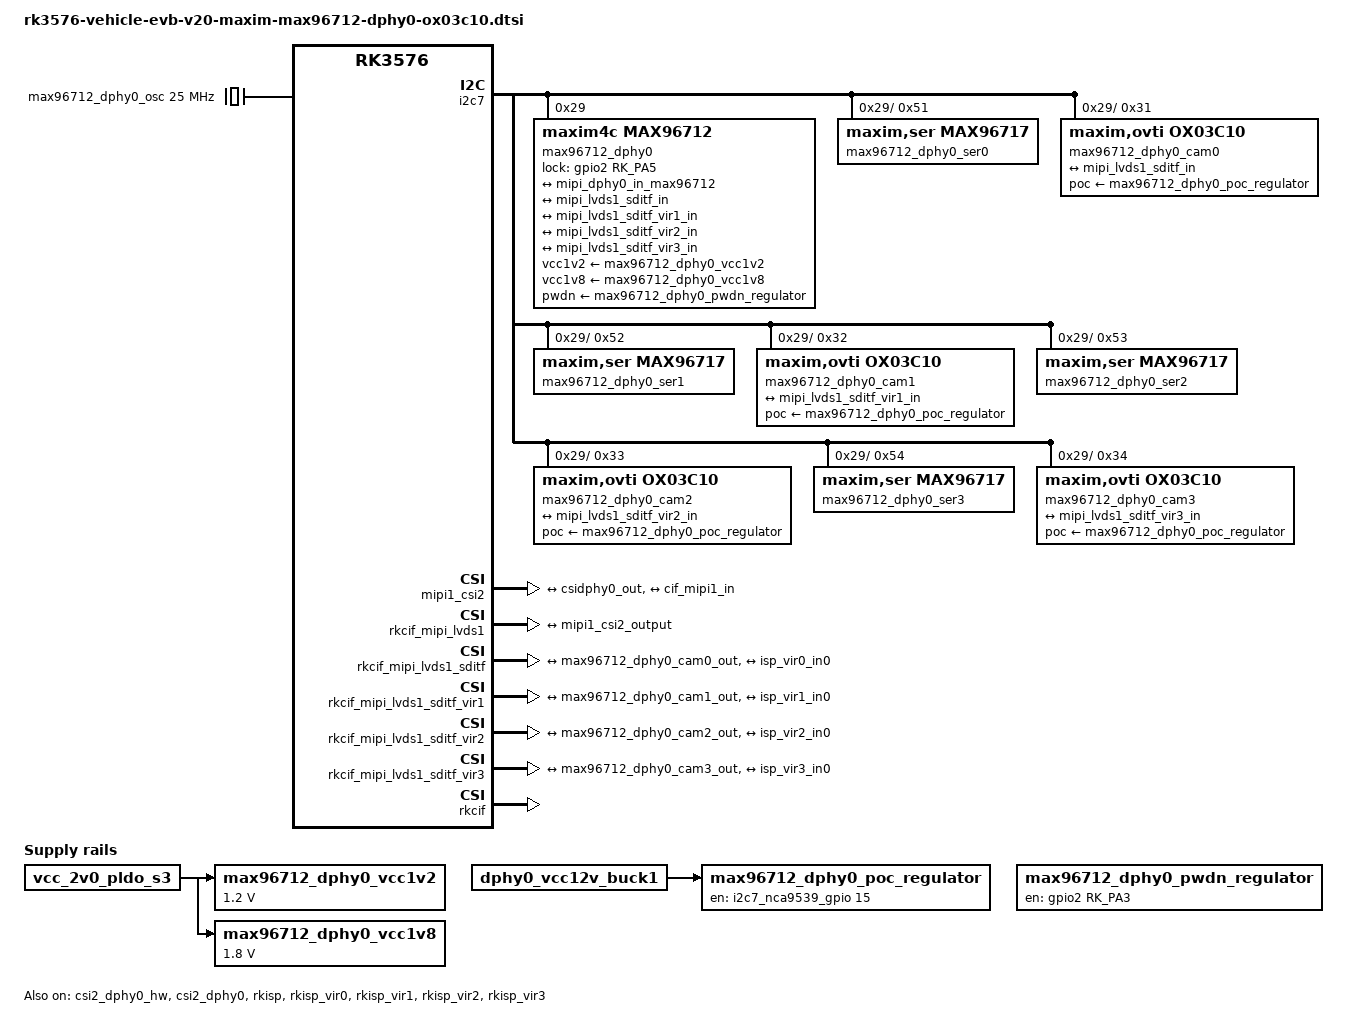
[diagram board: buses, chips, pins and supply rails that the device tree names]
// SPDX-License-Identifier: (GPL-2.0+ OR MIT)
/*
 * Copyright (c) 2025 Rockchip Electronics Co., Ltd.
 *
 */
#include <dt-bindings/display/media-bus-format.h>

/* ox03c10 hdr mode enable */
#define OX03C10_HDR_ENABLE			0

#if (OX03C10_HDR_ENABLE != 0)
/* ox03c10 hdr operating mode */
#define OX03C10_HDR3_DCG_VS_12BIT		0
#define OX03C10_HDR3_DCG_SPD_12BIT		1

#define OX03C10_HDR_MODE			OX03C10_HDR3_DCG_VS_12BIT
#endif /* OX03C10_HDR_ENABLE */

/* Multiple raw sensor link to RK ISP: 0 = disable, 1 = enable */
#define MULTI_RAW_SENSOR_LINK_TO_ISP		1

/ {
	max96712_dphy0_osc: max96712-dphy0-oscillator {
		compatible = "fixed-clock";
		#clock-cells = <1>;
		clock-frequency = <25000000>;
		clock-output-names = "max96712-dphy0-osc";
	};

	max96712_dphy0_vcc1v2: max96712-dphy0-vcc1v2 {
		compatible = "regulator-fixed";
		regulator-name = "max96712_dphy0_vcc1v2";
		regulator-boot-on;
		regulator-always-on;
		regulator-min-microvolt = <1200000>;
		regulator-max-microvolt = <1200000>;
		startup-delay-us = <850>;
		vin-supply = <&vcc_2v0_pldo_s3>;
	};

	max96712_dphy0_vcc1v8: max96712-dphy0-vcc1v8 {
		compatible = "regulator-fixed";
		regulator-name = "max96712_dphy0_vcc1v8";
		regulator-boot-on;
		regulator-always-on;
		regulator-min-microvolt = <1800000>;
		regulator-max-microvolt = <1800000>;
		startup-delay-us = <200>;
		vin-supply = <&vcc_2v0_pldo_s3>;
	};

	max96712_dphy0_pwdn_regulator: max96712-dphy0-pwdn-regulator {
		compatible = "regulator-fixed";
		regulator-name = "max96712_dphy0_pwdn";
		gpio = <&gpio2 RK_PA3 GPIO_ACTIVE_HIGH>;
		pinctrl-names = "default";
		pinctrl-0 = <&max96712_dphy0_pwdn>;
		enable-active-high;
		startup-delay-us = <10000>;
		off-on-delay-us = <5000>;
	};

	max96712_dphy0_poc_regulator: max96712-dphy0-poc0-regulator {
		compatible = "regulator-fixed";
		regulator-name = "max96712_dphy0_poc";
		gpio = <&i2c7_nca9539_gpio 15 GPIO_ACTIVE_HIGH>;
		enable-active-high;
		startup-delay-us = <10000>;
		off-on-delay-us = <5000>;
		vin-supply = <&dphy0_vcc12v_buck1>;
	};
};

&csi2_dphy0_hw {
	status = "okay";
};

&csi2_dphy0 {
	status = "okay";

	ports {
		#address-cells = <1>;
		#size-cells = <0>;
		port@0 {
			reg = <0>;
			#address-cells = <1>;
			#size-cells = <0>;

			mipi_dphy0_in_max96712: endpoint@1 {
				reg = <1>;
				remote-endpoint = <&max96712_dphy0_out>;
				data-lanes = <1 2 3 4>;
			};
		};
		port@1 {
			reg = <1>;
			#address-cells = <1>;
			#size-cells = <0>;

			csidphy0_out: endpoint@0 {
				reg = <0>;
				remote-endpoint = <&mipi1_csi2_input>;
			};
		};
	};
};

&i2c7 {
	max96712_dphy0: max96712@29 {
		compatible = "maxim4c,max96712";
		status = "okay";
		reg = <0x29>;
		clock-names = "xvclk";
		clocks = <&max96712_dphy0_osc 0>;
		pinctrl-names = "default";
		pinctrl-0 = <&max96712_dphy0_errb>, <&max96712_dphy0_lock>;
		power-domains = <&power RK3576_PD_VI>;
		rockchip,grf = <&sys_grf>;
		vcc1v2-supply = <&max96712_dphy0_vcc1v2>;
		vcc1v8-supply = <&max96712_dphy0_vcc1v8>;
		pwdn-supply = <&max96712_dphy0_pwdn_regulator>;
		lock-gpios = <&gpio2 RK_PA5 GPIO_ACTIVE_HIGH>;

		rockchip,camera-module-index = <0>;
		rockchip,camera-module-facing = "back";
		rockchip,camera-module-name = "default";
		rockchip,camera-module-lens-name = "default";

		port {
			max96712_dphy0_out: endpoint {
				remote-endpoint = <&mipi_dphy0_in_max96712>;
				data-lanes = <1 2 3 4>;
			};
		};

		/* support mode config start */
		support-mode-config {
			status = "okay";

#if (OX03C10_HDR_ENABLE == 0)
			bus-format = <MEDIA_BUS_FMT_SBGGR10_1X10>;
			bpp = <10>;
			exp-def = <0x0200>;
			hts-def = <0x10fe>;
			vts-def = <0x055c>; // 0x02ae * 2
#else
			bus-format = <MEDIA_BUS_FMT_SBGGR12_1X12>;
			bpp = <12>;
			exp-def = <0x0200>;
			hts-def = <0x10fe>;
			vts-def = <0x055c>; // 0x02ae * 2
#endif /* OX03C10_HDR_ENABLE */
			sensor-width = <1920>;
			sensor-height = <1080>;
			max-fps-numerator = <10000>;
			max-fps-denominator = <300000>;
			link-freq-idx = <20>;
		};
		/* support mode config end */

		/* serdes local device start */
		serdes-local-device {
			status = "okay";

#if MULTI_RAW_SENSOR_LINK_TO_ISP
			remote-routing-to-isp = <1>; /* remote camera route to ISP */
#endif

			/* GMSL LINK config start */
			gmsl-links {
				status = "okay";

				link-vdd-ldo1-en = <1>;
				link-vdd-ldo2-en = <1>;

				// Link A: link-id = 0
				gmsl-link-config-0 {
					status = "okay";
					link-id = <0>; // Link ID: 0/1/2/3

					link-type = <1>; // 0: GMSL1, 1: GMSL2
					link-rx-rate = <1>; // 0: 3GBPS, 1: 6GBPS
					link-tx-rate = <0>; // 0: default for 187.5MBPS

					link-remote-cam = <&max96712_dphy0_cam0>; // remote camera

					link-init-sequence {
						seq-item-size = <5>; // reg-addr-len + reg-val-len * 2 + 1
						reg-addr-len = <2>; // 1: 8bits, 2: 16bits
						reg-val-len = <1>; // 1: 8bits, 2: 16bits, 3: 24bits

						// reg_addr reg_val val_mask delay
						init-sequence = [
							14 D1 03 00 00 // VGAHiGain
							14 45 00 00 00 // Disable SSC
						];
					};
				};

				// Link B: link-id = 1
				gmsl-link-config-1 {
					status = "okay";
					link-id = <1>; // Link ID: 0/1/2/3

					link-type = <1>; // 0: GMSL1, 1: GMSL2
					link-rx-rate = <1>; // 0: 3GBPS, 1: 6GBPS
					link-tx-rate = <0>; // 0: default for 187.5MBPS

					link-remote-cam = <&max96712_dphy0_cam1>; // remote camera

					link-init-sequence {
						seq-item-size = <5>; // reg-addr-len + reg-val-len * 2 + 1
						reg-addr-len = <2>; // 1: 8bits, 2: 16bits
						reg-val-len = <1>; // 1: 8bits, 2: 16bits, 3: 24bits

						// reg_addr reg_val val_mask delay
						init-sequence = [
							15 D1 03 00 00 // VGAHiGain
							15 45 00 00 00 // Disable SSC
						];
					};
				};

				// Link C: link-id = 2
				gmsl-link-config-2 {
					status = "okay";
					link-id = <2>; // Link ID: 0/1/2/3

					link-type = <1>; // 0: GMSL1, 1: GMSL2
					link-rx-rate = <1>; // 0: 3GBPS, 1: 6GBPS
					link-tx-rate = <0>; // 0: default for 187.5MBPS

					link-remote-cam = <&max96712_dphy0_cam2>; // remote camera

					link-init-sequence {
						seq-item-size = <5>; // reg-addr-len + reg-val-len * 2 + 1
						reg-addr-len = <2>; // 1: 8bits, 2: 16bits
						reg-val-len = <1>; // 1: 8bits, 2: 16bits, 3: 24bits

						// reg_addr reg_val val_mask delay
						init-sequence = [
							16 D1 03 00 00 // VGAHiGain
							16 45 00 00 00 // Disable SSC
						];
					};
				};

				// Link D: link-id = 3
				gmsl-link-config-3 {
					status = "okay";
					link-id = <3>; // Link ID: 0/1/2/3

					link-type = <1>; // 0: GMSL1, 1: GMSL2
					link-rx-rate = <1>; // 0: 3GBPS, 1: 6GBPS
					link-tx-rate = <0>; // 0: default for 187.5MBPS

					link-remote-cam = <&max96712_dphy0_cam3>; // remote camera

					link-init-sequence {
						seq-item-size = <5>; // reg-addr-len + reg-val-len * 2 + 1
						reg-addr-len = <2>; // 1: 8bits, 2: 16bits
						reg-val-len = <1>; // 1: 8bits, 2: 16bits, 3: 24bits

						// reg_addr reg_val val_mask delay
						init-sequence = [
							17 D1 03 00 00 // VGAHiGain
							17 45 00 00 00 // Disable SSC
						];
					};
				};
			};
			/* GMSL LINK config end */

			/* VIDEO PIPE config start */
			video-pipes {
				status = "okay";

				// Video Pipe 0
				video-pipe-config-0 {
					status = "okay";
					pipe-id = <0>; // Video Pipe ID: 0/1/2/3/4/5/6/7

					pipe-idx = <2>; // Video Pipe X/Y/Z/U: 0/1/2/3
					link-idx = <0>; // Link A/B/C/D: 0/1/2/3

					pipe-init-sequence {
						seq-item-size = <5>; // reg-addr-len + reg-val-len * 2 + 1
						reg-addr-len = <2>; // 1: 8bits, 2: 16bits
						reg-val-len = <1>; // 1: 8bits, 2: 16bits, 3: 24bits

						// reg_addr reg_val val_mask delay
						init-sequence = [
							// Send YUV422, FS, and FE from Video Pipe 0 to Controller 1
							09 0B 07 00 00 // Enable 0/1/2 SRC/DST Mappings
							09 2D 15 00 00 // SRC/DST 0/1/2 -> CSI2 Controller 1;
							// For the following MSB 2 bits = VC, LSB 6 bits = DT
#if (OX03C10_HDR_ENABLE == 0)
							09 0D 2b 00 00 // SRC0 VC = 0, DT = RAW10
							09 0E 2b 00 00 // DST0 VC = 0, DT = RAW10
#else
							09 0D 2c 00 00 // SRC0 VC = 0, DT = RAW12
							09 0E 2c 00 00 // DST0 VC = 0, DT = RAW12
#endif /* OX03C10_HDR_ENABLE */
							09 0F 00 00 00 // SRC1 VC = 0, DT = Frame Start
							09 10 00 00 00 // DST1 VC = 0, DT = Frame Start
							09 11 01 00 00 // SRC2 VC = 0, DT = Frame End
							09 12 01 00 00 // DST2 VC = 0, DT = Frame End
						];
					};
				};

				// Video Pipe 1
				video-pipe-config-1 {
					status = "okay";
					pipe-id = <1>; // Video Pipe 1: pipe-id = 1

					pipe-idx = <2>; // Video Pipe X/Y/Z/U: 0/1/2/3
					link-idx = <1>; // Link A/B/C/D: 0/1/2/3

					pipe-init-sequence {
						seq-item-size = <5>; // reg-addr-len + reg-val-len * 2 + 1
						reg-addr-len = <2>; // 1: 8bits, 2: 16bits
						reg-val-len = <1>; // 1: 8bits, 2: 16bits, 3: 24bits

						// reg_addr reg_val val_mask delay
						init-sequence = [
							// Send YUV422, FS, and FE from Video Pipe 1 to Controller 1
							09 4B 07 00 00 // Enable 0/1/2 SRC/DST Mappings
							09 6D 15 00 00 // SRC/DST 0/1/2 -> CSI2 Controller 1;
							// For the following MSB 2 bits = VC, LSB 6 bits = DT
#if (OX03C10_HDR_ENABLE == 0)
							09 4D 2b 00 00 // SRC0 VC = 0, DT = RAW10
							09 4E 6b 00 00 // DST0 VC = 1, DT = RAW10
#else
							09 4D 2c 00 00 // SRC0 VC = 0, DT = RAW12
							09 4E 6c 00 00 // DST0 VC = 1, DT = RAW12
#endif /* OX03C10_HDR_ENABLE */
							09 4F 00 00 00 // SRC1 VC = 0, DT = Frame Start
							09 50 40 00 00 // DST1 VC = 1, DT = Frame Start
							09 51 01 00 00 // SRC2 VC = 0, DT = Frame End
							09 52 41 00 00 // DST2 VC = 1, DT = Frame End
						];
					};
				};

				// Video Pipe 2
				video-pipe-config-2 {
					status = "okay";
					pipe-id = <2>; // Video Pipe ID: 0/1/2/3/4/5/6/7

					pipe-idx = <2>; // Video Pipe X/Y/Z/U: 0/1/2/3
					link-idx = <2>; // Link A/B/C/D: 0/1/2/3

					pipe-init-sequence {
						seq-item-size = <5>; // reg-addr-len + reg-val-len * 2 + 1
						reg-addr-len = <2>; // 1: 8bits, 2: 16bits
						reg-val-len = <1>; // 1: 8bits, 2: 16bits, 3: 24bits

						// reg_addr reg_val val_mask delay
						init-sequence = [
							// Send YUV422, FS, and FE from Video Pipe 2 to Controller 1
							09 8B 07 00 00 // Enable 0/1/2 SRC/DST Mappings
							09 AD 15 00 00 // SRC/DST 0/1/2 -> CSI2 Controller 1;
							// For the following MSB 2 bits = VC, LSB 6 bits = DT
#if (OX03C10_HDR_ENABLE == 0)
							09 8D 2b 00 00 // SRC0 VC = 0, DT = RAW10
							09 8E ab 00 00 // DST0 VC = 2, DT = RAW10
#else
							09 8D 2c 00 00 // SRC0 VC = 0, DT = RAW12
							09 8E ac 00 00 // DST0 VC = 2, DT = RAW12
#endif /* OX03C10_HDR_ENABLE */
							09 8F 00 00 00 // SRC1 VC = 0, DT = Frame Start
							09 90 80 00 00 // DST1 VC = 2, DT = Frame Start
							09 91 01 00 00 // SRC2 VC = 0, DT = Frame End
							09 92 81 00 00 // DST2 VC = 2, DT = Frame End
						];
					};
				};

				// Video Pipe 3
				video-pipe-config-3 {
					status = "okay";
					pipe-id = <3>; // Video Pipe ID: 0/1/2/3/4/5/6/7

					pipe-idx = <2>; // Video Pipe X/Y/Z/U: 0/1/2/3
					link-idx = <3>; // Link A/B/C/D: 0/1/2/3

					pipe-init-sequence {
						seq-item-size = <5>; // reg-addr-len + reg-val-len * 2 + 1
						reg-addr-len = <2>; // 1: 8bits, 2: 16bits
						reg-val-len = <1>; // 1: 8bits, 2: 16bits, 3: 24bits

						// reg_addr reg_val val_mask delay
						init-sequence = [
							// Send YUV422, FS, and FE from Video Pipe 3 to Controller 1
							09 CB 07 00 00 // Enable 0/1/2 SRC/DST Mappings
							09 ED 15 00 00 // SRC/DST 0/1/2 -> CSI2 Controller 1;
							// For the following MSB 2 bits = VC, LSB 6 bits = DT
#if (OX03C10_HDR_ENABLE == 0)
							09 CD 2b 00 00 // SRC0 VC = 0, DT = RAW10
							09 CE eb 00 00 // DST0 VC = 3, DT = RAW10
#else
							09 CD 2c 00 00 // SRC0 VC = 0, DT = RAW12
							09 CE ec 00 00 // DST0 VC = 3, DT = RAW12
#endif /* OX03C10_HDR_ENABLE */
							09 CF 00 00 00 // SRC1 VC = 0, DT = Frame Start
							09 D0 c0 00 00 // DST1 VC = 3, DT = Frame Start
							09 D1 01 00 00 // SRC2 VC = 0, DT = Frame End
							09 D2 c1 00 00 // DST2 VC = 3, DT = Frame End
						];
					};
				};
			};
			/* VIDEO PIPE config end */

			/* MIPI TXPHY config start */
			mipi-txphys {
				status = "okay";

				phy-mode = <0>; // 0: 4Lanes, 1: 2Lanes
				phy-force-clock-out = <1>; // 1: default for force clock out
				phy-force-clk0-en = <1>; // provide MIPI clock: 0 = PHY1, 1 = PHY0
				phy-force-clk3-en = <0>; // provide MIPI clock: 0 = PHY2, 1 = PHY3

				// MIPI TXPHY A: phy-id = 0
				mipi-txphy-config-0 {
					status = "okay";
					phy-id = <0>; // MIPI TXPHY ID: 0/1/2/3

					phy-type = <0>; // 0: DPHY, 1: CPHY
					auto-deskew = <0x80>;
					data-lane-num = <4>;
					data-lane-map = <0x4>;
					vc-ext-en = <0>;
				};

				// MIPI TXPHY B: phy-id = 1
				mipi-txphy-config-1 {
					status = "okay";
					phy-id = <1>; // MIPI TXPHY ID: 0/1/2/3

					phy-type = <0>; // 0: DPHY, 1: CPHY
					auto-deskew = <0x80>;
					data-lane-num = <4>;
					data-lane-map = <0xe>;
					vc-ext-en = <0>;
				};
			};
			/* MIPI TXPHY config end */

			/* local device extra init sequence */
			extra-init-sequence {
				status = "disabled";

				seq-item-size = <5>; // reg-addr-len + reg-val-len * 2 + 1
				reg-addr-len = <2>; // 1: 8bits, 2: 16bits
				reg-val-len = <1>; // 1: 8bits, 2: 16bits, 3: 24bits

				// reg_addr reg_val val_mask delay
				init-sequence = [
					// common init sequence such as fsync / gpio and so on
				];
			};
		};
		/* serdes local device end */

		/* i2c-mux start */
		i2c-mux {
			#address-cells = <1>;
			#size-cells = <0>;

			i2c@0 {
				#address-cells = <1>;
				#size-cells = <0>;
				reg = <0>;

				// Note: Serializer node defined before camera node
				max96712_dphy0_ser0: max96717@51 {
					compatible = "maxim,ser,max96717";
					reg = <0x51>;

					ser-i2c-addr-def = <0x40>;

					ser-init-sequence {
						seq-item-size = <5>; // reg-addr-len + reg-val-len * 2 + 1
						reg-addr-len = <2>; // 1: 8bits, 2: 16bits
						reg-val-len = <1>; // 1: 8bits, 2: 16bits, 3: 24bits

						// reg_addr reg_val val_mask delay
						init-sequence = [
							02 BE 00 00 01 // MFP0 GPIO_OUT = 0: MFP0 output is driven to 0
							03 02 10 00 00 // Improve CMU voltage performance to improve link robustness
							14 17 00 00 00 // RLMS17 = 0x00: disable AGC/DFE adaptation
							14 32 7f 00 00 // RLMS32 = 0x7F: change OSN loop mode
							03 F0 59 00 00 // REFGEN_PREDEF_FREQ_ALT = 1: Alternative table, REFGEN_PREDEF_FREQ = 0x1: 24MHz
							00 03 03 00 00 // RCLKSEL = 0x3: Reference PLL output
							05 70 0c 00 00 // PIO06_SLEW = 00: MFP4 Rise and fall time speed setting, 00 is fastest
							00 06 B1 00 01 // RCLKEN = 1: RCLK output is enabled
							02 BF 40 00 00 // MFP0 PULL_UPDN_SEL = 1: Pullup
							02 BE 10 00 0a // MFP0 GPIO_OUT = 1: MFP0 output is driven to 1
						];
					};
				};

				max96712_dphy0_cam0: ox03c10@31 {
					compatible = "maxim,ovti,ox03c10";
					reg = <0x31>;

					cam-i2c-addr-def = <0x36>;

					cam-remote-ser = <&max96712_dphy0_ser0>; // remote serializer

					poc-supply = <&max96712_dphy0_poc_regulator>;

					rockchip,camera-module-index = <0>;
					rockchip,camera-module-facing = "back";
					rockchip,camera-module-name = "default";
					rockchip,camera-module-lens-name = "default";

#if (OX03C10_HDR_ENABLE != 0)
					rockchip,camera-hdr-mode = <7>; // HDR_COMPR

					/* hdr operating mode
					 *   0: OX03C10_HDR3_DCG_VS_12BIT
					 *   1: OX03C10_HDR3_DCG_SPD_12BIT
					 */
					hdr-operating-mode = <OX03C10_HDR_MODE>; // 0 ~ 1
#endif /* OX03C10_HDR_ENABLE */

					/* port config start */
					port {
						max96712_dphy0_cam0_out: endpoint {
#if MULTI_RAW_SENSOR_LINK_TO_ISP
							remote-endpoint = <&mipi_lvds1_sditf_in>;
#endif

							data-lanes = <1 2 3 4>;
						};
					};
					/* port config end */
				};
			};

			i2c@1 {
				#address-cells = <1>;
				#size-cells = <0>;
				reg = <1>;

				// Note: Serializer node defined before camera node
				max96712_dphy0_ser1: max96717@52 {
					compatible = "maxim,ser,max96717";
					reg = <0x52>;

					ser-i2c-addr-def = <0x40>;

					ser-init-sequence {
						seq-item-size = <5>; // reg-addr-len + reg-val-len * 2 + 1
						reg-addr-len = <2>; // 1: 8bits, 2: 16bits
						reg-val-len = <1>; // 1: 8bits, 2: 16bits, 3: 24bits

						// reg_addr reg_val val_mask delay
						init-sequence = [
							02 BE 00 00 01 // MFP0 GPIO_OUT = 0: MFP0 output is driven to 0
							03 02 10 00 00 // Improve CMU voltage performance to improve link robustness
							14 17 00 00 00 // RLMS17 = 0x00: disable AGC/DFE adaptation
							14 32 7f 00 00 // RLMS32 = 0x7F: change OSN loop mode
							03 F0 59 00 00 // REFGEN_PREDEF_FREQ_ALT = 1: Alternative table, REFGEN_PREDEF_FREQ = 0x1: 24MHz
							00 03 03 00 00 // RCLKSEL = 0x3: Reference PLL output
							05 70 0c 00 00 // PIO06_SLEW = 00: MFP4 Rise and fall time speed setting, 00 is fastest
							00 06 B1 00 01 // RCLKEN = 1: RCLK output is enabled
							02 BF 40 00 00 // MFP0 PULL_UPDN_SEL = 1: Pullup
							02 BE 10 00 0a // MFP0 GPIO_OUT = 1: MFP0 output is driven to 1
						];
					};
				};

				max96712_dphy0_cam1: ox03c10@32 {
					compatible = "maxim,ovti,ox03c10";
					reg = <0x32>;

					cam-i2c-addr-def = <0x36>;

					cam-remote-ser = <&max96712_dphy0_ser1>; // remote serializer

					poc-supply = <&max96712_dphy0_poc_regulator>;

					rockchip,camera-module-index = <1>;
					rockchip,camera-module-facing = "back";
					rockchip,camera-module-name = "default";
					rockchip,camera-module-lens-name = "default";

#if (OX03C10_HDR_ENABLE != 0)
					rockchip,camera-hdr-mode = <7>; // HDR_COMPR

					/* hdr operating mode
					 *   0: OX03C10_HDR3_DCG_VS_12BIT
					 *   1: OX03C10_HDR3_DCG_SPD_12BIT
					 */
					hdr-operating-mode = <OX03C10_HDR_MODE>; // 0 ~ 1
#endif /* OX03C10_HDR_ENABLE */

					/* port config start */
					port {
						max96712_dphy0_cam1_out: endpoint {
#if MULTI_RAW_SENSOR_LINK_TO_ISP
							remote-endpoint = <&mipi_lvds1_sditf_vir1_in>;
#endif

							data-lanes = <1 2 3 4>;
						};
					};
					/* port config end */
				};
			};

			i2c@2 {
				#address-cells = <1>;
				#size-cells = <0>;
				reg = <2>;

				// Note: Serializer node defined before camera node
				max96712_dphy0_ser2: max96717@53 {
					compatible = "maxim,ser,max96717";
					reg = <0x53>;

					ser-i2c-addr-def = <0x40>;

					ser-init-sequence {
						seq-item-size = <5>; // reg-addr-len + reg-val-len * 2 + 1
						reg-addr-len = <2>; // 1: 8bits, 2: 16bits
						reg-val-len = <1>; // 1: 8bits, 2: 16bits, 3: 24bits

						// reg_addr reg_val val_mask delay
						init-sequence = [
							02 BE 00 00 01 // MFP0 GPIO_OUT = 0: MFP0 output is driven to 0
							03 02 10 00 00 // Improve CMU voltage performance to improve link robustness
							14 17 00 00 00 // RLMS17 = 0x00: disable AGC/DFE adaptation
							14 32 7f 00 00 // RLMS32 = 0x7F: change OSN loop mode
							03 F0 59 00 00 // REFGEN_PREDEF_FREQ_ALT = 1: Alternative table, REFGEN_PREDEF_FREQ = 0x1: 24MHz
							00 03 03 00 00 // RCLKSEL = 0x3: Reference PLL output
							05 70 0c 00 00 // PIO06_SLEW = 00: MFP4 Rise and fall time speed setting, 00 is fastest
							00 06 B1 00 01 // RCLKEN = 1: RCLK output is enabled
							02 BF 40 00 00 // MFP0 PULL_UPDN_SEL = 1: Pullup
							02 BE 10 00 0a // MFP0 GPIO_OUT = 1: MFP0 output is driven to 1
						];
					};
				};

				max96712_dphy0_cam2: ox03c10@33 {
					compatible = "maxim,ovti,ox03c10";
					reg = <0x33>;

					cam-i2c-addr-def = <0x36>;

					cam-remote-ser = <&max96712_dphy0_ser2>; // remote serializer

					poc-supply = <&max96712_dphy0_poc_regulator>;

					rockchip,camera-module-index = <2>;
					rockchip,camera-module-facing = "back";
					rockchip,camera-module-name = "default";
					rockchip,camera-module-lens-name = "default";

#if (OX03C10_HDR_ENABLE != 0)
					rockchip,camera-hdr-mode = <7>; // HDR_COMPR

					/* hdr operating mode
					 *   0: OX03C10_HDR3_DCG_VS_12BIT
					 *   1: OX03C10_HDR3_DCG_SPD_12BIT
					 */
					hdr-operating-mode = <OX03C10_HDR_MODE>; // 0 ~ 1
#endif /* OX03C10_HDR_ENABLE */

					/* port config start */
					port {
						max96712_dphy0_cam2_out: endpoint {
#if MULTI_RAW_SENSOR_LINK_TO_ISP
							remote-endpoint = <&mipi_lvds1_sditf_vir2_in>;
#endif

							data-lanes = <1 2 3 4>;
						};
					};
					/* port config end */
				};
			};

			i2c@3 {
				#address-cells = <1>;
				#size-cells = <0>;
				reg = <3>;

				// Note: Serializer node defined before camera node
				max96712_dphy0_ser3: max96717@54 {
					compatible = "maxim,ser,max96717";
					reg = <0x54>;

					ser-i2c-addr-def = <0x40>;

					ser-init-sequence {
						seq-item-size = <5>; // reg-addr-len + reg-val-len * 2 + 1
						reg-addr-len = <2>; // 1: 8bits, 2: 16bits
						reg-val-len = <1>; // 1: 8bits, 2: 16bits, 3: 24bits

						// reg_addr reg_val val_mask delay
						init-sequence = [
							02 BE 00 00 01 // MFP0 GPIO_OUT = 0: MFP0 output is driven to 0
							03 02 10 00 00 // Improve CMU voltage performance to improve link robustness
							14 17 00 00 00 // RLMS17 = 0x00: disable AGC/DFE adaptation
							14 32 7f 00 00 // RLMS32 = 0x7F: change OSN loop mode
							03 F0 59 00 00 // REFGEN_PREDEF_FREQ_ALT = 1: Alternative table, REFGEN_PREDEF_FREQ = 0x1: 24MHz
							00 03 03 00 00 // RCLKSEL = 0x3: Reference PLL output
							05 70 0c 00 00 // PIO06_SLEW = 00: MFP4 Rise and fall time speed setting, 00 is fastest
							00 06 B1 00 01 // RCLKEN = 1: RCLK output is enabled
							02 BF 40 00 00 // MFP0 PULL_UPDN_SEL = 1: Pullup
							02 BE 10 00 0a // MFP0 GPIO_OUT = 1: MFP0 output is driven to 1
						];
					};
				};

				max96712_dphy0_cam3: ox03c10@34 {
					compatible = "maxim,ovti,ox03c10";
					reg = <0x34>;

					cam-i2c-addr-def = <0x36>;

					cam-remote-ser = <&max96712_dphy0_ser3>; // remote serializer

					poc-supply = <&max96712_dphy0_poc_regulator>;

					rockchip,camera-module-index = <3>;
					rockchip,camera-module-facing = "back";
					rockchip,camera-module-name = "default";
					rockchip,camera-module-lens-name = "default";

#if (OX03C10_HDR_ENABLE != 0)
					rockchip,camera-hdr-mode = <7>; // HDR_COMPR

					/* hdr operating mode
					 *   0: OX03C10_HDR3_DCG_VS_12BIT
					 *   1: OX03C10_HDR3_DCG_SPD_12BIT
					 */
					hdr-operating-mode = <OX03C10_HDR_MODE>; // 0 ~ 1
#endif /* OX03C10_HDR_ENABLE */

					/* port config start */
					port {
						max96712_dphy0_cam3_out: endpoint {
#if MULTI_RAW_SENSOR_LINK_TO_ISP
							remote-endpoint = <&mipi_lvds1_sditf_vir3_in>;
#endif

							data-lanes = <1 2 3 4>;
						};
					};
					/* port config end */
				};
			};
		};
		/* i2c-mux end */
	};
};

&mipi1_csi2 {
	status = "okay";

	ports {
		#address-cells = <1>;
		#size-cells = <0>;

		port@0 {
			reg = <0>;
			#address-cells = <1>;
			#size-cells = <0>;

			mipi1_csi2_input: endpoint@1 {
				reg = <1>;
				remote-endpoint = <&csidphy0_out>;
			};
		};

		port@1 {
			reg = <1>;
			#address-cells = <1>;
			#size-cells = <0>;

			mipi1_csi2_output: endpoint@0 {
				reg = <0>;
				remote-endpoint = <&cif_mipi1_in>;
			};
		};
	};
};

&rkcif_mipi_lvds1 {
	status = "okay";

#if MULTI_RAW_SENSOR_LINK_TO_ISP
	camera-over-bridge; // serdes multi raw camera to isp
#endif

	/* parameters for do cif reset detecting:
	 * index0: monitor mode,
		   0 for idle,
		   1 for continue,
		   2 for trigger,
		   3 for hotplug (for nextchip)
	 * index1: the frame id to start timer,
		   min is 2
	 * index2: frame num of monitoring cycle
	 * index3: err time for keep monitoring
		   after finding out err (ms)
	 * index4: csi2 err reference val for resetting
	 */
	rockchip,cif-monitor = <3 2 1 1000 5>;

	port {
		cif_mipi1_in: endpoint {
			remote-endpoint = <&mipi1_csi2_output>;
		};
	};
};

#if MULTI_RAW_SENSOR_LINK_TO_ISP
&rkcif_mipi_lvds1_sditf {
	#address-cells = <1>;
	#size-cells = <0>;
	status = "okay";

	ports {
		#address-cells = <1>;
		#size-cells = <0>;
		port@0 {
			reg = <0>;
			#address-cells = <1>;
			#size-cells = <0>;
			mipi_lvds1_sditf_in: endpoint@1 {
				reg = <1>;
				remote-endpoint = <&max96712_dphy0_cam0_out>;
				data-lanes = <1 2 3 4>;
			};
		};

		port@1 {
			reg = <1>;
			#address-cells = <1>;
			#size-cells = <0>;
			mipi_lvds1_sditf: endpoint@0 {
				reg = <0>;
				remote-endpoint = <&isp_vir0_in0>;
			};
		};
	};
};

&rkcif_mipi_lvds1_sditf_vir1 {
	#address-cells = <1>;
	#size-cells = <0>;
	status = "okay";

	ports {
		#address-cells = <1>;
		#size-cells = <0>;
		port@0 {
			reg = <0>;
			#address-cells = <1>;
			#size-cells = <0>;
			mipi_lvds1_sditf_vir1_in: endpoint@1 {
				reg = <1>;
				remote-endpoint = <&max96712_dphy0_cam1_out>;
				data-lanes = <1 2 3 4>;
			};
		};

		port@1 {
			reg = <1>;
			#address-cells = <1>;
			#size-cells = <0>;
			mipi_lvds1_sditf_vir1: endpoint@0 {
				reg = <0>;
				remote-endpoint = <&isp_vir1_in0>;
			};
		};
	};
};

&rkcif_mipi_lvds1_sditf_vir2 {
	address-cells = <1>;
	#size-cells = <0>;
	status = "okay";

	ports {
		#address-cells = <1>;
		#size-cells = <0>;
		port@0 {
			reg = <0>;
			#address-cells = <1>;
			#size-cells = <0>;
			mipi_lvds1_sditf_vir2_in: endpoint@1 {
				reg = <1>;
				remote-endpoint = <&max96712_dphy0_cam2_out>;
				data-lanes = <1 2 3 4>;
			};
		};

		port@1 {
			reg = <1>;
			#address-cells = <1>;
			#size-cells = <0>;
			mipi_lvds1_sditf_vir2: endpoint {
				remote-endpoint = <&isp_vir2_in0>;
			};
		};
	};
};

&rkcif_mipi_lvds1_sditf_vir3 {
	address-cells = <1>;
	#size-cells = <0>;
	status = "okay";

	ports {
		#address-cells = <1>;
		#size-cells = <0>;
		port@0 {
			reg = <0>;
			#address-cells = <1>;
			#size-cells = <0>;
			mipi_lvds1_sditf_vir3_in: endpoint@1 {
				reg = <1>;
				remote-endpoint = <&max96712_dphy0_cam3_out>;
				data-lanes = <1 2 3 4>;
			};
		};

		port@1 {
			reg = <1>;
			#address-cells = <1>;
			#size-cells = <0>;
			mipi_lvds1_sditf_vir3: endpoint {
				remote-endpoint = <&isp_vir3_in0>;
			};
		};
	};
};
#endif /* MULTI_RAW_SENSOR_LINK_TO_ISP */

&rkcif {
	status = "okay";
	rockchip,android-usb-camerahal-enable;
};

&rkcif_mmu {
	status = "okay";
};

#if MULTI_RAW_SENSOR_LINK_TO_ISP
&rkisp {
	status = "okay";
};

&rkisp_mmu {
	status = "okay";
};

&rkisp_vir0 {
	status = "okay";

	port {
		#address-cells = <1>;
		#size-cells = <0>;

		isp_vir0_in0: endpoint@0 {
			reg = <0>;
			remote-endpoint = <&mipi_lvds1_sditf>;
		};
	};
};

&rkisp_vir1 {
	status = "okay";

	port {
		#address-cells = <1>;
		#size-cells = <0>;

		isp_vir1_in0: endpoint@0 {
			reg = <0>;
			remote-endpoint = <&mipi_lvds1_sditf_vir1>;
		};
	};
};

&rkisp_vir2 {
	status = "okay";

	port {
		#address-cells = <1>;
		#size-cells = <0>;

		isp_vir2_in0: endpoint@0 {
			reg = <0>;
			remote-endpoint = <&mipi_lvds1_sditf_vir2>;
		};
	};
};

&rkisp_vir3 {
	status = "okay";

	port {
		#address-cells = <1>;
		#size-cells = <0>;

		isp_vir3_in0: endpoint@0 {
			reg = <0>;
			remote-endpoint = <&mipi_lvds1_sditf_vir3>;
		};
	};
};
#endif /* MULTI_RAW_SENSOR_LINK_TO_ISP */

&pinctrl {
	max96712-dphy0 {
		max96712_dphy0_pwdn: max96712-dphy0-pwdn {
			rockchip,pins = <2 RK_PA3 RK_FUNC_GPIO &pcfg_output_low>;
		};

		max96712_dphy0_errb: max96712-dphy0-errb {
			rockchip,pins = <2 RK_PA4 RK_FUNC_GPIO &pcfg_pull_none_smt>;
		};

		max96712_dphy0_lock: max96712-dphy0-lock {
			rockchip,pins = <2 RK_PA5 RK_FUNC_GPIO &pcfg_pull_none_smt>;
		};
	};
};
